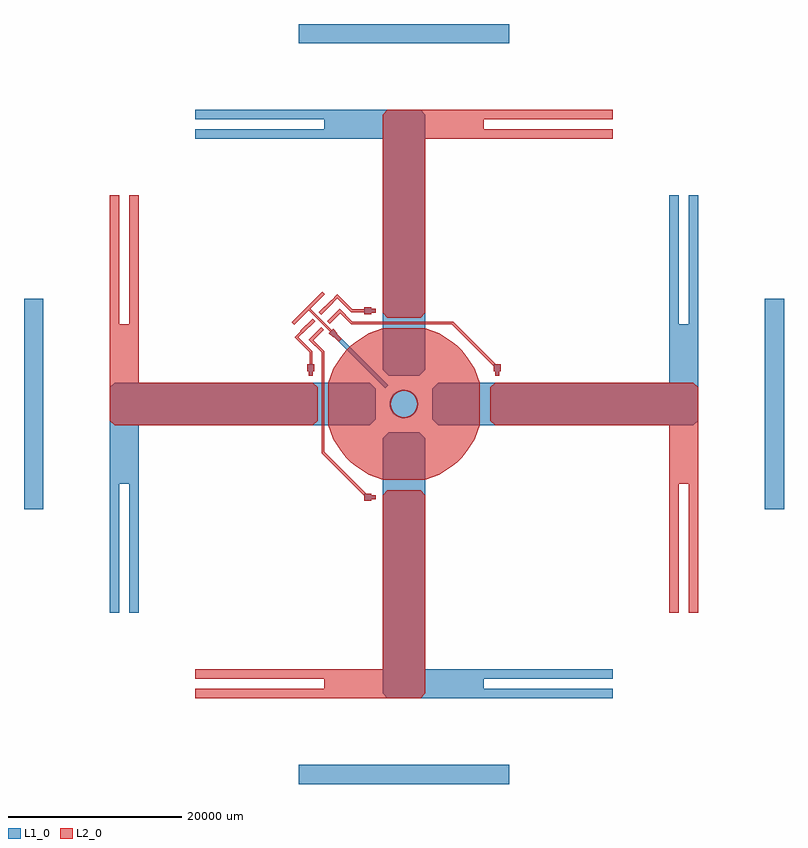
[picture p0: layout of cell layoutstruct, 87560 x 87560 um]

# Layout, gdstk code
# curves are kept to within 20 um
import gdstk
lib = gdstk.Library(unit=1e-6, precision=1e-09)
def R(c, l, rs):  # rectangles x0, y0, x1, y1
    for r in rs: c.add(gdstk.rectangle(r[:2], r[2:], *l))
def P(c, l, *ps):  # polygons
    for p in ps: c.add(gdstk.Polygon(p, *l))
L1_0 = (1, 0)
L2_0 = (2, 0)

layoutstruct = lib.new_cell('layoutstruct')
R(layoutstruct, L1_0, [(-12100,-43780,12100,-41580), (-43780,-12100,-41580,12100), (41580,-12100,43780,12100), (-12100,41580,12100,43780)])
P(layoutstruct, L1_0, [(-30580,-2475),(-3935,-2475),(-3235,-1775),(-3235,1775),(-3935,2475),(-33330,2475),(-33880,1925),(-33880,-24035),(-32780,-24035),(-32780,-9185),(-31680,-9185),(-31680,-24035),(-30580,-24035)],
  [(30580,2475),(3935,2475),(3235,1775),(3235,-1775),(3935,-2475),(33330,-2475),(33880,-1925),(33880,24035),(32780,24035),(32780,9185),(31680,9185),(31680,24035),(30580,24035)],
  [(1649.258,0),(1610.394,357.352),(1495.618,697.995),(1310.297,1006.001),(1063.097,1266.967),(765.576,1468.691),(431.646,1601.741),(76.922,1659.895),(-282.01,1640.434),(-628.367,1544.268),(-945.954,1375.894),(-1219.921,1143.185),(-1437.456,857.022),(-1588.389,530.785),(-1665.662,179.73),(-1665.662,-179.73),(-1588.389,-530.785),(-1437.456,-857.022),(-1219.921,-1143.185),(-945.954,-1375.894),(-628.367,-1544.268),(-282.01,-1640.434),(76.922,-1659.895),(431.646,-1601.741),(765.576,-1468.691),(1063.097,-1266.967),(1310.297,-1006.001),(1495.618,-697.995),(1610.394,-357.352)],
  [(2475,-30580),(2475,-3935),(1775,-3235),(-1775,-3235),(-2475,-3935),(-2475,-33330),(-1925,-33880),(24035,-33880),(24035,-32780),(9185,-32780),(9185,-31680),(24035,-31680),(24035,-30580)],
  [(-2475,30580),(-2475,3935),(-1775,3235),(1775,3235),(2475,3935),(2475,33330),(1925,33880),(-24035,33880),(-24035,32780),(-9185,32780),(-9185,31680),(-24035,31680),(-24035,30580)],
  [(-1823.223,2176.777),(-7738.656,8092.21),(-7667.946,8162.92),(-8162.92,8657.895),(-8657.895,8162.92),(-8162.92,7667.946),(-8092.21,7738.656),(-2176.777,1823.223)],
  [(-3775,-10340.979),(-4575,-10340.979),(-4575,-11140.979),(-3775,-11140.979),(-3775,-10990.979),(-3275,-10990.979),(-3275,-10490.979),(-3775,-10490.979)],
  [(-10340.979,3775),(-10340.979,4575),(-11140.979,4575),(-11140.979,3775),(-10990.979,3775),(-10990.979,3275),(-10490.979,3275),(-10490.979,3775)],
  [(10340.979,3775),(10490.979,3775),(10490.979,3275),(10990.979,3275),(10990.979,3775),(11140.979,3775),(11140.979,4575),(10340.979,4575)],
  [(-3775,10340.979),(-3775,10490.979),(-3275,10490.979),(-3275,10990.979),(-3775,10990.979),(-3775,11140.979),(-4575,11140.979),(-4575,10340.979)])
P(layoutstruct, L2_0, [(1925,-9940.979),(-1925,-9940.979),(-2475,-10490.979),(-2475,-30580),(-24035,-30580),(-24035,-31680),(-9185,-31680),(-9185,-32780),(-24035,-32780),(-24035,-33880),(1925,-33880),(2475,-33330),(2475,-10490.979)],
  [(-1925,9940.979),(1925,9940.979),(2475,10490.979),(2475,30580),(24035,30580),(24035,31680),(9185,31680),(9185,32780),(24035,32780),(24035,33880),(-1925,33880),(-2475,33330),(-2475,10490.979)],
  [(8730.979,-2475),(8730.979,2475),(8464.792,3271.532),(8126.109,4040.046),(7717.832,4773.96),(7243.457,5466.988),(6707.047,6113.195),(6113.195,6707.047),(5466.988,7243.457),(4773.96,7717.832),(4040.046,8126.109),(3271.532,8464.792),(2475,8730.979),(-2475,8730.979),(-3271.532,8464.792),(-4040.046,8126.109),(-4773.96,7717.832),(-5466.988,7243.457),(-6113.195,6707.047),(-6707.047,6113.195),(-7243.457,5466.988),(-7717.832,4773.96),(-8126.109,4040.046),(-8464.792,3271.532),(-8730.979,2475),(-8730.979,0),(-1500,0),(-1462.392,333.781),(-1351.453,650.826),(-1172.747,935.235),(-935.235,1172.747),(-650.826,1351.453),(-333.781,1462.392),(0,1500),(333.781,1462.392),(650.826,1351.453),(935.235,1172.747),(1172.747,935.235),(1351.453,650.826),(1462.392,333.781),(1500,0),(1462.392,-333.781),(1351.453,-650.826),(1172.747,-935.235),(935.235,-1172.747),(650.826,-1351.453),(333.781,-1462.392),(0,-1500),(-333.781,-1462.392),(-650.826,-1351.453),(-935.235,-1172.747),(-1172.747,-935.235),(-1351.453,-650.826),(-1462.392,-333.781),(-1500,0),(-8730.979,0),(-8730.979,-2475),(-8464.792,-3271.532),(-8126.109,-4040.046),(-7717.832,-4773.96),(-7243.457,-5466.988),(-6707.047,-6113.195),(-6113.195,-6707.047),(-5466.988,-7243.457),(-4773.96,-7717.832),(-4040.046,-8126.109),(-3271.532,-8464.792),(-2475,-8730.979),(2475,-8730.979),(3271.532,-8464.792),(4040.046,-8126.109),(4773.96,-7717.832),(5466.988,-7243.457),(6113.195,-6707.047),(6707.047,-6113.195),(7243.457,-5466.988),(7717.832,-4773.96),(8126.109,-4040.046),(8464.792,-3271.532)],
  [(-9940.979,-1925),(-9940.979,1925),(-10490.979,2475),(-30580,2475),(-30580,24035),(-31680,24035),(-31680,9185),(-32780,9185),(-32780,24035),(-33880,24035),(-33880,-1925),(-33330,-2475),(-10490.979,-2475)],
  [(9940.979,1925),(9940.979,-1925),(10490.979,-2475),(30580,-2475),(30580,-24035),(31680,-24035),(31680,-9185),(32780,-9185),(32780,-24035),(33880,-24035),(33880,1925),(33330,2475),(10490.979,2475)],
  [(-10878.847,5962.868),(-10878.847,4575),(-11140.979,4575),(-11140.979,3775),(-10990.979,3775),(-10990.979,3275),(-10490.979,3275),(-10490.979,3775),(-10340.979,3775),(-10340.979,4575),(-10578.847,4575),(-10578.847,6087.132),(-12181.57,7689.855),(-11697.413,8174.012),(-11662.058,8138.656),(-10247.845,9552.87),(-10530.687,9835.712),(-11944.901,8421.499),(-11909.545,8386.144),(-12605.834,7689.855)],
  [(5662.385,9461.88),(-5938.313,9485.979),(-7419.417,10967.083),(-8833.631,9552.87),(-8550.788,9270.027),(-7348.707,10472.109),(-6062.577,9185.979),(5514.021,9185.979),(10340.979,4359.021),(10340.979,3775),(10490.979,3775),(10490.979,3275),(10990.979,3275),(10990.979,3775),(11140.979,3775),(11140.979,4575),(10549.264,4575)],
  [(-9540.738,10259.977),(-8126.524,11674.19),(-8161.88,11709.545),(-7677.723,12193.702),(-6075,10590.979),(-4575,10590.979),(-4575,10340.979),(-3775,10340.979),(-3775,10490.979),(-3275,10490.979),(-3275,10990.979),(-3775,10990.979),(-3775,11140.979),(-4575,11140.979),(-4575,10890.979),(-5950.736,10890.979),(-7677.723,12617.966),(-8374.012,11921.677),(-8409.367,11957.033),(-9823.58,10542.819)],
  [(-10472.109,7348.707),(-9257.895,8562.92),(-9540.738,8845.763),(-10967.083,7419.417),(-9485.979,5938.313),(-9461.88,-5662.385),(-4575,-10549.264),(-4575,-11140.979),(-3775,-11140.979),(-3775,-10990.979),(-3275,-10990.979),(-3275,-10490.979),(-3775,-10490.979),(-3775,-10340.979),(-4359.021,-10340.979),(-9185.979,-5514.021),(-9185.979,6062.577)],
  [(-10778.175,11002.439),(-9116.474,12664.14),(-9399.316,12946.982),(-12934.85,9411.448),(-12652.008,9128.606),(-10990.307,10790.307),(-8510.408,8310.408),(-8657.895,8162.92),(-8162.92,7667.946),(-8092.21,7738.656),(-7526.524,7172.971),(-7172.971,7526.524),(-7738.656,8092.21),(-7667.946,8162.92),(-8162.92,8657.895),(-8298.276,8522.54)])

lib.write_gds('layoutstruct.gds')
